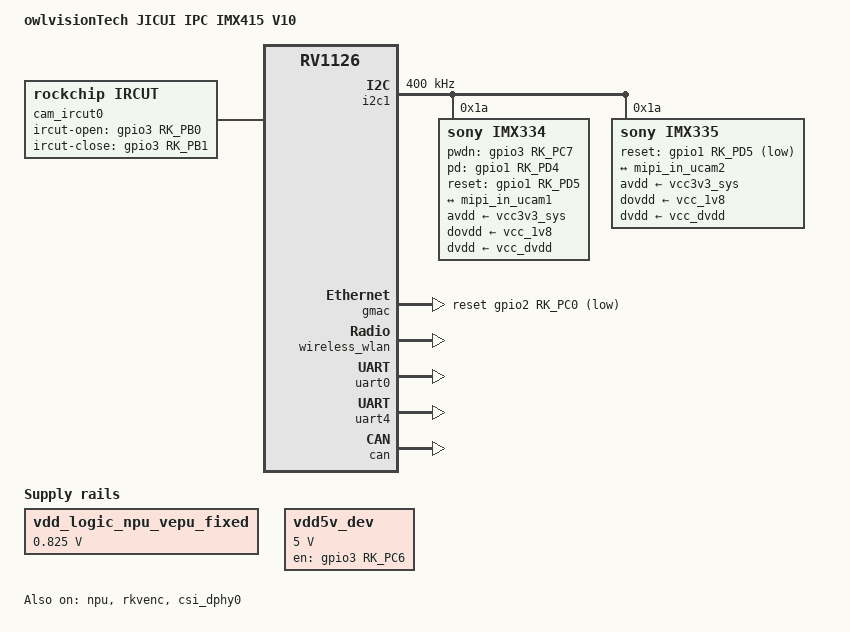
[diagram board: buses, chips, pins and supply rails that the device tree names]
// SPDX-License-Identifier: (GPL-2.0+ OR MIT)
/*
 * Copyright (c) 2020 Rockchip Electronics Co., Ltd.
 */

/dts-v1/;
#include "rv1126.dtsi"
#include "rv1126-owl-discrete-dcdc.dtsi"
#include <dt-bindings/input/input.h>

/ {
    model = "owlvisionTech JICUI IPC IMX415 V10";
    compatible = "rockchip,rv1126-owl-jicui-ipc-v10", "rockchip,rv1126";

	chosen {
		bootargs = "earlycon=uart8250,mmio32,0xff570000 console=ttyFIQ0 root=PARTUUID=614e0000-0000 rootfstype=ext4 rootwait snd_aloop.index=7";
	};

	cam_ircut0: cam_ircut {
		status = "okay";
		compatible = "rockchip,ircut";
		ircut-open-gpios = <&gpio3 RK_PB0 GPIO_ACTIVE_HIGH>;
		ircut-close-gpios  = <&gpio3 RK_PB1 GPIO_ACTIVE_HIGH>;
		rockchip,camera-module-index = <1>;
		rockchip,camera-module-facing = "front";
	};

    /delete-node/ vdd-vepu;

    vdd_logic_npu_vepu_fixed: vdd-logic-npu-vepu-fixed {
        compatible = "regulator-fixed";
        regulator-name = "vdd_logic_npu_vepu-fixed";
        regulator-always-on;
        regulator-boot-on;
        regulator-min-microvolt = <825000>;
        regulator-max-microvolt = <825000>;
    };

	vdd5v_dev: vdd5v-dev {
		compatible = "regulator-fixed";
		regulator-name = "vdd5v_dev";
		gpio = <&gpio3 RK_PC6 GPIO_ACTIVE_HIGH>;
		enable-active-high;
		regulator-always-on;
		regulator-boot-on;
		regulator-min-microvolt = <5000000>;
		regulator-max-microvolt = <5000000>;
	};
};

&npu {
    status = "okay";
    npu-supply = <&vdd_logic_npu_vepu_fixed>;
};

&rkvenc {
    status = "okay";
    venc-supply = <&vdd_logic_npu_vepu_fixed>;
};

&npu_opp_table {
 /delete-node/ opp-700000000;
 /delete-node/ opp-800000000;
 /delete-node/ opp-934000000;
};

&dsi {
    status = "disabled";
};

&csi_dphy0 {
	status = "okay";

	ports {
		#address-cells = <1>;
		#size-cells = <0>;
		port@0 {
			reg = <0>;
			#address-cells = <1>;
			#size-cells = <0>;

			mipi_in_ucam0: endpoint@1 {
				reg = <1>;
				remote-endpoint = <&ucam_out0>;
				data-lanes = <1 2 3 4>;
			};

            mipi_in_ucam1: endpoint@2 {
                reg = <2>;
                remote-endpoint = <&ucam_out01>;
                data-lanes = <1 2 3 4>;
            };

            mipi_in_ucam2: endpoint@3 {
                reg = <3>;
                remote-endpoint = <&ucam_out02>;
                data-lanes = <1 2 3 4>;
            };
		};

		port@1 {
			reg = <1>;
			#address-cells = <1>;
			#size-cells = <0>;

			csidphy0_out: endpoint@0 {
				reg = <0>;
				remote-endpoint = <&mipi_csi2_input>;
			};
		};
	};
};

&i2c1 {
	status = "okay";
	clock-frequency = <400000>;

    imx334: imx334@1a {
        compatible = "sony,imx334";
        reg = <0x1a>;
        clocks = <&cru CLK_MIPICSI_OUT>;
        clock-names = "xvclk";
        power-domains = <&power RV1126_PD_VI>;
        pinctrl-names = "rockchip,camera_default";
        pinctrl-0 = <&mipicsi_clk0>;
        avdd-supply = <&vcc3v3_sys>;
        dovdd-supply = <&vcc_1v8>;
        dvdd-supply = <&vcc_dvdd>;
        pwdn-gpios = <&gpio3 RK_PC7 GPIO_ACTIVE_HIGH>;
        pd-gpios = <&gpio1 RK_PD4 GPIO_ACTIVE_HIGH>;
        reset-gpios = <&gpio1 RK_PD5 GPIO_ACTIVE_HIGH>;
        rockchip,camera-module-index = <1>;
        rockchip,camera-module-facing = "front";
        rockchip,camera-module-name = "CMK-OT1522-FG3";
        rockchip,camera-module-lens-name = "CS-P1150-IRC-8M-FAU";
        port {
            ucam_out01: endpoint {
               remote-endpoint = <&mipi_in_ucam1>;
               data-lanes = <1 2 3 4>;
           };
        };
    };

	imx335: imx335@1a {
		compatible = "sony,imx335";
		reg = <0x1a>;
		clocks = <&cru CLK_MIPICSI_OUT>;
		clock-names = "xvclk";
		power-domains = <&power RV1126_PD_VI>;
		pinctrl-names = "rockchip,camera_default";
        pinctrl-0 = <&mipicsi_clk0>;
        avdd-supply = <&vcc3v3_sys>;
        dovdd-supply = <&vcc_1v8>;
        dvdd-supply = <&vcc_dvdd>;
        reset-gpios = <&gpio1 RK_PD5 GPIO_ACTIVE_LOW>;
		rockchip,camera-module-index = <1>;
		rockchip,camera-module-facing = "front";
		rockchip,camera-module-name = "MTV4-IR-E-P";
		rockchip,camera-module-lens-name = "40IRC-4MP-F16";
        ir-cut = <&cam_ircut0>;
        port {
            ucam_out02: endpoint {
                remote-endpoint = <&mipi_in_ucam2>;
                data-lanes = <1 2 3 4>;
            };
        };
    };
};


&isp_reserved {
    size = <0x20000000>;
};

&gmac {
    snps,reset-gpio = <&gpio2 RK_PC0 GPIO_ACTIVE_LOW>;
};

&wireless_wlan {
    wifi_chip_type = "ap6212";
};

&uart0 {
    pinctrl-names = "default";
    pinctrl-0 = <&uart0_xfer &uart0_ctsn>;
    dma-names = "tx", "rx";
    status = "okay";
};

&uart4 {
    status = "okay";
    pinctrl-names = "default";
    dma-names = "tx", "rx";
    pinctrl-0 = <&uart4m1_xfer>;
};

&can {
    status = "okay";

    pinctrl-names = "default";
    pinctrl-0 = <&canm0_pins>;
};

&pmu_io_domains {
	status = "okay";

	vccio3-supply = <&vcc_1v8>;
};

